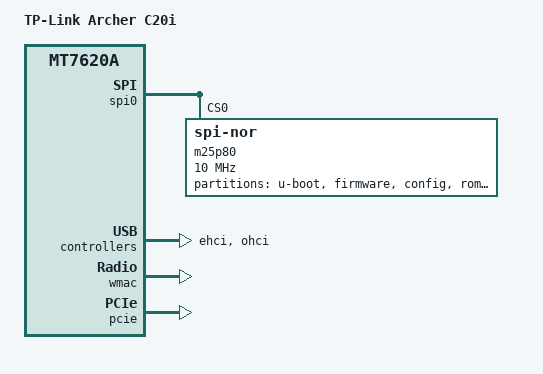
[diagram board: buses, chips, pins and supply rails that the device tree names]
/dts-v1/;

#include "mt7620a.dtsi"

/ {
	compatible = "ralink,mt7620a-soc";
	model = "TP-Link Archer C20i";

	chosen {
		bootargs = "console=ttyS0,115200";
	};

	gpio-leds {
		compatible = "gpio-leds";
	};

	gpio-keys-polled {
		compatible = "gpio-keys-polled";
		#address-cells = <1>;
		#size-cells = <0>;
		poll-interval = <20>;
	};
};

&gpio2 {
	status = "okay";
};

&spi0 {
	status = "okay";

	m25p80@0 {
		#address-cells = <1>;
		#size-cells = <1>;
		compatible = "jedec,spi-nor";
		reg = <0>;
		linux,modalias = "m25p80", "mx25l6405d";
		spi-max-frequency = <10000000>;

		partition@0 {
			label = "u-boot";
			reg = <0x0 0x20000>;
			read-only;
		};

		partition@20000 {
			label = "firmware";
			reg = <0x20000 0x7a0000>;
		};

		partition@7c0000 {
			label = "config";
			reg = <0x7c0000 0x10000>;
		};

		rom: partition@7d0000 {
			label = "rom";
			reg = <0x7d0000 0x10000>;
		};

		partition@7e0000 {
			label = "romfile";
			reg = <0x7e0000 0x10000>;
		};

		radio: partition@7f0000 {
			label = "radio";
			reg = <0x7f0000 0x10000>;
		};
	};
};

&pinctrl {
	state_default: pinctrl0 {
		gpio {
			ralink,group = "i2c", "uartf", "rgmii1", "rgmii2", "wled", "nd_sd";
			ralink,function = "gpio";
		};
	};
};

&ethernet {
		pinctrl-names = "default";
		pinctrl-0 = <&ephy_pins>;
		mtd-mac-address = <&rom 0xf100>;
		mediatek,portmap = "wllll";
	};

&ehci {
	status = "okay";
};

&ohci {
	status = "okay";
};

&gsw {
	mediatek,port4 = "ephy";
};

&wmac {
	ralink,mtd-eeprom = <&radio 0>;
};

&pcie {
	status = "okay";

	pcie-bridge {
		mt76@0,0 {
			reg = <0x0000 0 0 0 0>;
			device_type = "pci";
			mediatek,mtd-eeprom = <&radio 32768>;
			mediatek,2ghz = <0>;
		};
	};
};
